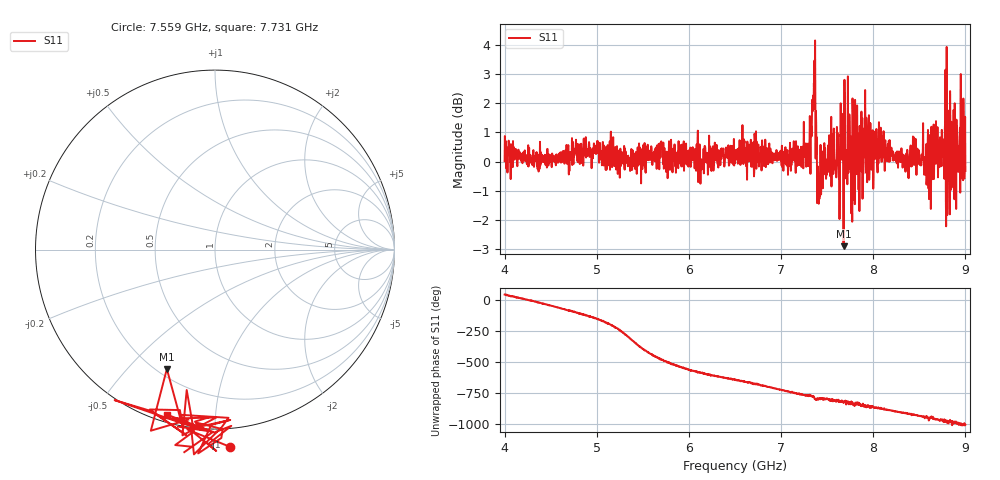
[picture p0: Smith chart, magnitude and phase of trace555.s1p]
! Created with skrf 1.8.0 (http://scikit-rf.org).
# Hz S RI R 50.0
!freq ReS11 ImS11
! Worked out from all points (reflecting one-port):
!   1601 points, 4 GHz to 9 GHz, reference 50 ohm
!   lowest |S11| = -2.9 dB at 7.678 GHz (marker M1), VSWR 6.07, Z = 11.8 - j32.4 ohm
!   phase of S11 starts at 42 deg and turns -1049 deg over the sweep
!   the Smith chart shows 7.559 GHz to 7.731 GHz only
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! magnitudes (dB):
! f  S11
! 4 GHz  0.0
! 4.625 GHz  0.0
! 4.991 GHz  0.3
! 5.25 GHz  -0.5
! 5.875 GHz  0.1
! 6.5 GHz  0.1
! 7.125 GHz  0.3
! 7.294 GHz  -0.2
! 7.347 GHz  2.3
! 7.362 GHz  3.5
! 7.397 GHz  -1.3
! 7.416 GHz  -1.3
! 7.538 GHz  0.2
! 7.609 GHz  0.2
! 7.669 GHz  1.6
! 7.678 GHz  -2.9
! 7.75 GHz  -0.1
! 7.775 GHz  2.2
! 7.8 GHz  -1.5
! 7.928 GHz  1.3
! 7.981 GHz  -0.3
! 8.088 GHz  0.1
! 8.375 GHz  -0.1
! 8.603 GHz  -0.3
! 8.759 GHz  0.6
! 8.856 GHz  -0.3
! 8.972 GHz  0.7
! 9 GHz  -0.3
